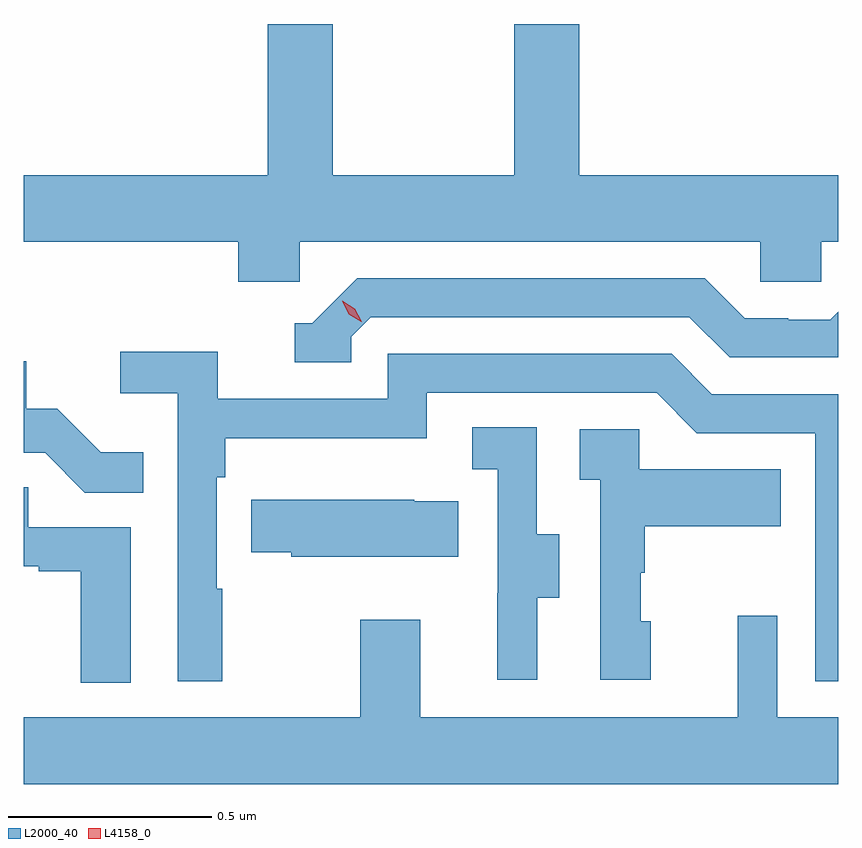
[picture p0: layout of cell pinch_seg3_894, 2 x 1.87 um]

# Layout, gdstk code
import gdstk
lib = gdstk.Library(unit=1e-6, precision=1e-09)
def P(c, l, *ps):  # polygons
    for p in ps: c.add(gdstk.Polygon(p, *l))
L2000_40 = (2000, 40)
L4158_0 = (4158, 0)

pinch_seg3_894 = lib.new_cell('pinch_seg3_894')
P(pinch_seg3_894, L2000_40, [(833.454,703.58),(834.585,703.58),(834.585,703.482),(834.735,703.482),(834.735,703.58),(834.776,703.58),(834.776,703.744),(834.14,703.744),(834.14,704.115),(833.98,704.115),(833.98,703.744),(833.535,703.744),(833.535,704.115),(833.375,704.115),(833.375,703.744),(832.776,703.744),(832.776,703.58),(833.303,703.58),(833.303,703.482),(833.454,703.482)],
  [(833.58,703.347),(833.628,703.395),(834.411,703.395),(834.51,703.296),(834.776,703.296),(834.776,703.408),(834.757,703.389),(834.654,703.389),(834.654,703.392),(834.547,703.392),(834.448,703.491),(833.595,703.491),(833.484,703.38),(833.441,703.38),(833.441,703.284),(833.58,703.284)],
  [(833.263,702.728),(833.25,702.728),(833.25,703.001),(833.27,703.001),(833.27,703.097),(833.766,703.097),(833.766,703.209),(834.33,703.209),(834.429,703.11),(834.72,703.11),(834.72,702.501),(834.776,702.501),(834.776,703.206),(834.466,703.206),(834.367,703.305),(833.67,703.305),(833.67,703.194),(833.252,703.194),(833.252,703.31),(833.013,703.31),(833.013,703.208),(833.154,703.208),(833.154,702.501),(833.263,702.501)],
  [(833.069,703.063),(832.965,703.063),(832.858,703.17),(832.782,703.17),(832.782,703.287),(832.776,703.287),(832.776,703.062),(832.828,703.062),(832.926,702.964),(833.069,702.964)],
  [(834.037,702.706),(834.091,702.706),(834.091,702.861),(834.036,702.861),(834.036,703.124),(833.877,703.124),(833.877,703.021),(833.94,703.021),(833.94,702.717),(833.939,702.717),(833.939,702.504),(834.037,702.504)],
  [(834.316,702.648),(834.291,702.648),(834.291,702.767),(834.301,702.767),(834.301,702.881),(834.635,702.881),(834.635,703.021),(834.288,703.021),(834.288,703.119),(834.141,703.119),(834.141,702.995),(834.192,702.995),(834.192,702.504),(834.316,702.504)],
  [(833.038,702.879),(832.787,702.879),(832.787,702.977),(832.776,702.977),(832.776,702.783),(832.813,702.783),(832.813,702.771),(832.916,702.771),(832.916,702.497),(833.038,702.497)],
  [(833.843,702.943),(833.735,702.943),(833.735,702.946),(833.335,702.946),(833.335,702.817),(833.433,702.817),(833.433,702.806),(833.843,702.806)],
  [(834.776,702.412),(834.627,702.412),(834.627,702.661),(834.53,702.661),(834.53,702.412),(833.749,702.412),(833.749,702.652),(833.602,702.652),(833.602,702.412),(832.776,702.412),(832.776,702.248),(834.776,702.248)])
P(pinch_seg3_894, L4158_0, [(833.605,703.383),(833.574,703.402),(833.558,703.434),(833.558,703.435),(833.558,703.435),(833.589,703.416),(833.606,703.383),(833.606,703.383)])

lib.write_gds('pinch_seg3_894.gds')
